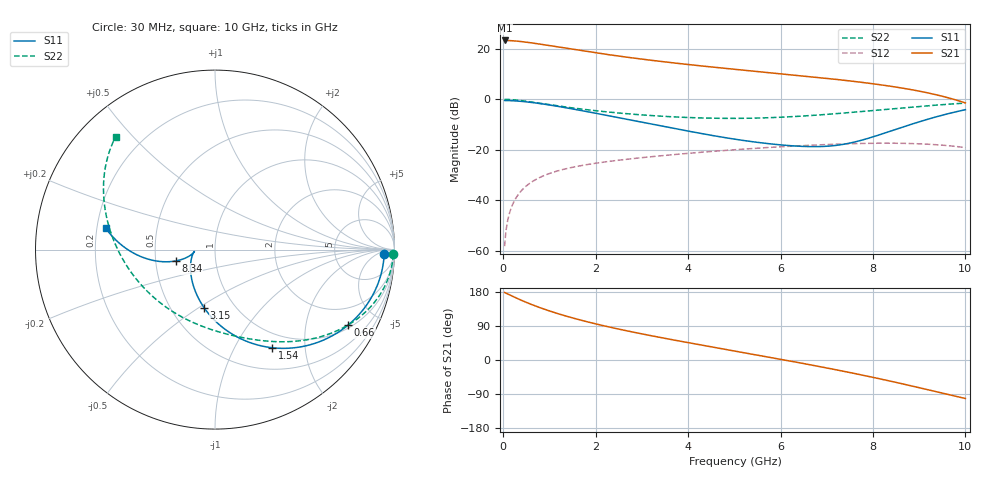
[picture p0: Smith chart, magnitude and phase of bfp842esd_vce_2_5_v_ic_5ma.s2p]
!2-port S-parameter file
!Title: test for scattering parameters
!Generated by ngspice at Tue Jul 20 11:36:28  2021
# Hz S RI R 50
!freq  ReS11  ImS11  ReS21  ImS21  ReS12  ImS12  ReS22  ImS22
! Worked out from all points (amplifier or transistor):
!   998 points, 30 MHz to 10 GHz, reference 50 ohm
!   highest |S21| = 23.3 dB at 30 MHz (marker M1)
!   |S21| within 3 dB of that: start of sweep to 1.336 GHz
!   unconditionally stable (mu >= 1): 3.215 GHz to end of sweep
!   at 1.69 GHz: K = 0.65, MSG = 22.7 dB, |S12| = -26.3 dB
!   at 5.02 GHz: K = 1.19, MAG = 13.3 dB, |S12| = -20.0 dB
!   at 10 GHz: K = 1.38, MAG = 5.2 dB, |S12| = -19.1 dB
!   S11 on the Smith chart (normalised r, x): 30 MHz: 29, -12; 660 MHz: 1.13, -3.47; 1.54 GHz: 0.79, -1.43; 3.15 GHz: 0.72, -0.53; 8.34 GHz: 0.64, -0.08; 10 GHz: 0.24, +0.09
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3e7  0.9427 -0.0234  -14.54 0.4522  2.68e-05 0.00124  0.9933 -0.0253
1.9e8  0.9229 -0.1454  -14.09 2.782  0.000975 0.00768  0.9669 -0.1547
3.7e8  0.8704 -0.2687  -12.95 5.027  0.00343 0.0142  0.902 -0.2762
5.1e8  0.8135 -0.3493  -11.78 6.398  0.00603 0.0186  0.8382 -0.3477
6.6e8  0.7428 -0.4193  -10.42 7.506  0.00921 0.0226  0.7666 -0.4042
8.5e8  0.6461 -0.4841  -8.657 8.447  0.0135 0.0267  0.6789 -0.4525
1.05e9  0.5433 -0.5263  -6.889 8.991  0.0182 0.0301  0.5944 -0.4836
1.28e9  0.4312 -0.548  -5.043 9.198  0.0235 0.033  0.5083 -0.5032
1.54e9  0.3179 -0.5467  -3.24 9.059  0.0292 0.0353  0.4238 -0.5123
1.7e9  0.2564 -0.5361  -2.282 8.84  0.0326 0.0363  0.3776 -0.5136
2.02e9  0.1521 -0.5007  -0.6829 8.216  0.0392 0.0377  0.2959 -0.5103
2.36e9  0.066 -0.4513  0.6182 7.409  0.0459 0.0385  0.2209 -0.5018
2.74e9  -0.00552 -0.3906  1.688 6.45  0.0533 0.0386  0.1468 -0.4891
3.15e9  -0.06 -0.3249  2.496 5.427  0.0613 0.0379  0.0739 -0.4727
3.36e9  -0.0806 -0.2923  2.801 4.922  0.0654 0.0372  0.0384 -0.4633
4.13e9  -0.1254 -0.1839  3.455 3.215  0.0808 0.0319  -0.0861 -0.4215
5.02e9  -0.1361 -0.0866  3.576 1.552  0.0984 0.0195  -0.2241 -0.3525
6.68e9  -0.1148 -0.0105  2.695 -0.6473  0.1204 -0.0267  -0.4557 -0.1422
7.53e9  -0.1341 -0.0299  1.898 -1.273  0.1165 -0.0615  -0.5477 0.0125
8.34e9  -0.2181 -0.0631  1.056 -1.495  0.0952 -0.0954  -0.6063 0.1913
9.27e9  -0.4211 -0.0355  0.2046 -1.268  0.0463 -0.1188  -0.6151 0.4322
1e10  -0.6089 0.119  -0.1701 -0.8264  0.000155 -0.1104  -0.5542 0.6282
